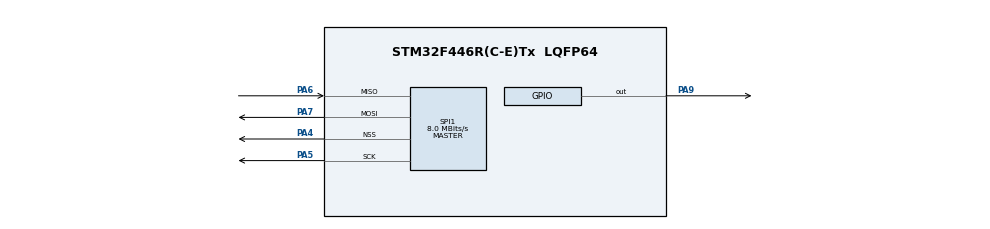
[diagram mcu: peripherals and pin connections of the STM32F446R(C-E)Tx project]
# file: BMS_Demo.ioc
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ADC1.Channel-0\#ChannelRegularConversion=ADC_CHANNEL_TEMPSENSOR
ADC1.NbrOfConversionFlag=1
ADC1.Rank-0\#ChannelRegularConversion=1
ADC1.SamplingTime-0\#ChannelRegularConversion=ADC_SAMPLETIME_3CYCLES
ADC1.master=1
Dma.ADC1.0.Direction=DMA_PERIPH_TO_MEMORY
Dma.ADC1.0.FIFOMode=DMA_FIFOMODE_DISABLE
Dma.ADC1.0.Instance=DMA2_Stream0
Dma.ADC1.0.MemDataAlignment=DMA_MDATAALIGN_HALFWORD
Dma.ADC1.0.MemInc=DMA_MINC_ENABLE
Dma.ADC1.0.Mode=DMA_NORMAL
Dma.ADC1.0.PeriphDataAlignment=DMA_PDATAALIGN_HALFWORD
Dma.ADC1.0.PeriphInc=DMA_PINC_DISABLE
Dma.ADC1.0.Priority=DMA_PRIORITY_LOW
Dma.Request0=ADC1
FREERTOS.Tasks01=defaultTask,24,128,StartDefaultTask,Default,NULL,Dynamic,NULL,NULL
Mcu.Family=STM32F4
Mcu.Name=STM32F446R(C-E)Tx
Mcu.Package=LQFP64
NVIC.DMA2_Stream0_IRQn=true\:5\:0\:false\:false\:true\:true\:false\:true\:true
NVIC.PriorityGroup=NVIC_PRIORITYGROUP_4
NVIC.SPI1_IRQn=true\:5\:0\:false\:false\:true\:true\:true\:true\:true
NVIC.TIM6_DAC_IRQn=true\:15\:0\:false\:false\:true\:false\:false\:true\:true
NVIC.TimeBase=TIM6_DAC_IRQn
NVIC.TimeBaseIP=TIM6
PA13.Mode=Serial_Wire
PA13.Signal=SYS_JTMS-SWDIO
PA14.Mode=Serial_Wire
PA14.Signal=SYS_JTCK-SWCLK
PA4.Mode=NSS_Signal_Hard_Output
PA4.Signal=SPI1_NSS
PA5.Mode=Full_Duplex_Master
PA5.Signal=SPI1_SCK
PA6.Mode=Full_Duplex_Master
PA6.Signal=SPI1_MISO
PA7.Mode=Full_Duplex_Master
PA7.Signal=SPI1_MOSI
PA9.Signal=GPIO_Output
ProjectManager.HeapSize=0x200
ProjectManager.StackSize=0x400
ProjectManager.TargetToolchain=STM32CubeIDE
RCC.CortexFreq_Value=16000000
RCC.USBFreq_Value=96000000
RCC.VCOOutputFreq_Value=192000000
SPI1.CalculateBaudRate=8.0 MBits/s
SPI1.Direction=SPI_DIRECTION_2LINES
SPI1.Mode=SPI_MODE_MASTER
SPI1.VirtualNSS=VM_NSSHARD
SPI1.VirtualType=VM_MASTER
VP_ADC1_TempSens_Input.Mode=IN-TempSens
VP_FREERTOS_VS_CMSIS_V2.Mode=CMSIS_V2
VP_SYS_VS_tim6.Mode=TIM6
board=custom

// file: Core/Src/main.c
/* USER CODE BEGIN Header */
/**
  ******************************************************************************
  * @file           : main.c
  * @brief          : Main program body
  ******************************************************************************
  * @attention
  *
  * Copyright (c) 2025 STMicroelectronics.
  * All rights reserved.
  *
  * This software is licensed under terms that can be found in the LICENSE file
  * in the root directory of this software component.
  * If no LICENSE file comes with this software, it is provided AS-IS.
  *
  ******************************************************************************
  */
/* USER CODE END Header */
#include "main.h"
#include "cmsis_os.h"

/* USER CODE BEGIN PD */
#define ADC_Buffer 8
/* USER CODE END PD */

ADC_HandleTypeDef hadc1;
DMA_HandleTypeDef hdma_adc1;

SPI_HandleTypeDef hspi1;

/* Definitions for defaultTask */
osThreadId_t defaultTaskHandle;
const osThreadAttr_t defaultTask_attributes = {
  .name = "defaultTask",
  .stack_size = 128 * 4,
  .priority = (osPriority_t) osPriorityNormal,
};
/* USER CODE BEGIN PV */
uint8_t ADCBuffer[ADC_Buffer];
/* USER CODE END PV */

void SystemClock_Config(void);
static void MX_GPIO_Init(void);
static void MX_DMA_Init(void);
static void MX_ADC1_Init(void);
static void MX_SPI1_Init(void);
void StartDefaultTask(void *argument);

/* USER CODE BEGIN 0 */
uint8_t SPI_SEND_DATA [2];
/* USER CODE END 0 */

int main(void)
{

  /* MCU Configuration--------------------------------------------------------*/

  /* Reset of all peripherals, Initializes the Flash interface and the Systick. */
  HAL_Init();

  /* Configure the system clock */
  SystemClock_Config();

  /* Initialize all configured peripherals */
  MX_GPIO_Init();
  MX_DMA_Init();
  MX_ADC1_Init();
  MX_SPI1_Init();
  /* USER CODE BEGIN 2 */
HAL_GPIO_WritePin(GPIOA,GPIO_Pin_9,GPIO_Pin_SET);
HAL_Delay(10);
HAL_GPIO_WritePin(GPIOA,GPIO_Pin_9,GPIO_Pin_RESET);
SPI_SEND_DATA[0]=0x07;
HAL_SPI_Transmit(hspi1, SPI_SEND_DATA, 1, 10);
HAL_SPI_Receive(&hspi1, &SPI_SEND_DATA[1], 1, 10);
HAL_GPIO_WritePin(GPIOA,GPIO_Pin_9,GPIO_Pin_SET);
HAL_GPIO_WritePin(GPIOA,GPIO_Pin_9,GPIO_Pin_RESET);
SPI_SEND_DATA[0]=0x05 | 0x20;
SPI_SEND_DATA[1]=0x07;
HAL_SPI_Transmit(hspi1, SPI_SEND_DATA, 1, 10);
HAL_SPI_Receive(&hspi1, &SPI_SEND_DATA[1], 1, 10);
HAL_GPIO_WritePin(GPIOA,GPIO_Pin_9,GPIO_Pin_SET);

  /* USER CODE END 2 */

  /* Init scheduler */
  osKernelInitialize();

  /* Create the thread(s) */
  /* creation of defaultTask */
  defaultTaskHandle = osThreadNew(StartDefaultTask, NULL, &defaultTask_attributes);

  /* Start scheduler */
  osKernelStart();

  /* We should never get here as control is now taken by the scheduler */

  /* Infinite loop */
  while (1)
  {

  }
}

void SystemClock_Config(void)
{
  RCC_OscInitTypeDef RCC_OscInitStruct = {0};
  RCC_ClkInitTypeDef RCC_ClkInitStruct = {0};

  /** Configure the main internal regulator output voltage
  */
  __HAL_RCC_PWR_CLK_ENABLE();
  __HAL_PWR_VOLTAGESCALING_CONFIG(PWR_REGULATOR_VOLTAGE_SCALE3);

  /** Initializes the RCC Oscillators according to the specified parameters
  * in the RCC_OscInitTypeDef structure.
  */
  RCC_OscInitStruct.OscillatorType = RCC_OSCILLATORTYPE_HSI;
  RCC_OscInitStruct.HSIState = RCC_HSI_ON;
  RCC_OscInitStruct.HSICalibrationValue = RCC_HSICALIBRATION_DEFAULT;
  RCC_OscInitStruct.PLL.PLLState = RCC_PLL_NONE;
  if (HAL_RCC_OscConfig(&RCC_OscInitStruct) != HAL_OK)
  {
    Error_Handler();
  }

  /** Initializes the CPU, AHB and APB buses clocks
  */
  RCC_ClkInitStruct.ClockType = RCC_CLOCKTYPE_HCLK|RCC_CLOCKTYPE_SYSCLK
                              |RCC_CLOCKTYPE_PCLK1|RCC_CLOCKTYPE_PCLK2;
  RCC_ClkInitStruct.SYSCLKSource = RCC_SYSCLKSOURCE_HSI;
  RCC_ClkInitStruct.AHBCLKDivider = RCC_SYSCLK_DIV1;
  RCC_ClkInitStruct.APB1CLKDivider = RCC_HCLK_DIV1;
  RCC_ClkInitStruct.APB2CLKDivider = RCC_HCLK_DIV1;

  if (HAL_RCC_ClockConfig(&RCC_ClkInitStruct, FLASH_LATENCY_0) != HAL_OK)
  {
    Error_Handler();
  }
}

static void MX_ADC1_Init(void)
{

  ADC_ChannelConfTypeDef sConfig = {0};

  /** Configure the global features of the ADC (Clock, Resolution, Data Alignment and number of conversion)
  */
  hadc1.Instance = ADC1;
  hadc1.Init.ClockPrescaler = ADC_CLOCK_SYNC_PCLK_DIV2;
  hadc1.Init.Resolution = ADC_RESOLUTION_12B;
  hadc1.Init.ScanConvMode = DISABLE;
  hadc1.Init.ContinuousConvMode = DISABLE;
  hadc1.Init.DiscontinuousConvMode = DISABLE;
  hadc1.Init.ExternalTrigConvEdge = ADC_EXTERNALTRIGCONVEDGE_NONE;
  hadc1.Init.ExternalTrigConv = ADC_SOFTWARE_START;
  hadc1.Init.DataAlign = ADC_DATAALIGN_RIGHT;
  hadc1.Init.NbrOfConversion = 1;
  hadc1.Init.DMAContinuousRequests = DISABLE;
  hadc1.Init.EOCSelection = ADC_EOC_SINGLE_CONV;
  if (HAL_ADC_Init(&hadc1) != HAL_OK)
  {
    Error_Handler();
  }

  /** Configure for the selected ADC regular channel its corresponding rank in the sequencer and its sample time.
  */
  sConfig.Channel = ADC_CHANNEL_TEMPSENSOR;
  sConfig.Rank = 1;
  sConfig.SamplingTime = ADC_SAMPLETIME_3CYCLES;
  if (HAL_ADC_ConfigChannel(&hadc1, &sConfig) != HAL_OK)
  {
    Error_Handler();
  }

}

static void MX_SPI1_Init(void)
{

  /* SPI1 parameter configuration*/
  hspi1.Instance = SPI1;
  hspi1.Init.Mode = SPI_MODE_MASTER;
  hspi1.Init.Direction = SPI_DIRECTION_2LINES;
  hspi1.Init.DataSize = SPI_DATASIZE_8BIT;
  hspi1.Init.CLKPolarity = SPI_POLARITY_LOW;
  hspi1.Init.CLKPhase = SPI_PHASE_1EDGE;
  hspi1.Init.NSS = SPI_NSS_HARD_OUTPUT;
  hspi1.Init.BaudRatePrescaler = SPI_BAUDRATEPRESCALER_2;
  hspi1.Init.FirstBit = SPI_FIRSTBIT_MSB;
  hspi1.Init.TIMode = SPI_TIMODE_DISABLE;
  hspi1.Init.CRCCalculation = SPI_CRCCALCULATION_DISABLE;
  hspi1.Init.CRCPolynomial = 10;
  if (HAL_SPI_Init(&hspi1) != HAL_OK)
  {
    Error_Handler();
  }

}

static void MX_DMA_Init(void)
{

  /* DMA controller clock enable */
  __HAL_RCC_DMA2_CLK_ENABLE();

  /* DMA interrupt init */
  /* DMA2_Stream0_IRQn interrupt configuration */
  HAL_NVIC_SetPriority(DMA2_Stream0_IRQn, 5, 0);
  HAL_NVIC_EnableIRQ(DMA2_Stream0_IRQn);

}

static void MX_GPIO_Init(void)
{
  GPIO_InitTypeDef GPIO_InitStruct = {0};

  /* GPIO Ports Clock Enable */
  __HAL_RCC_GPIOA_CLK_ENABLE();

  /*Configure GPIO pin Output Level */
  HAL_GPIO_WritePin(GPIOA, GPIO_PIN_9, GPIO_PIN_RESET);

  /*Configure GPIO pin : PA9 */
  GPIO_InitStruct.Pin = GPIO_PIN_9;
  GPIO_InitStruct.Mode = GPIO_MODE_OUTPUT_PP;
  GPIO_InitStruct.Pull = GPIO_NOPULL;
  GPIO_InitStruct.Speed = GPIO_SPEED_FREQ_LOW;
  HAL_GPIO_Init(GPIOA, &GPIO_InitStruct);

}

void StartDefaultTask(void *argument)
{
  for(;;)
  {
    osDelay(1);
  }
}

void HAL_TIM_PeriodElapsedCallback(TIM_HandleTypeDef *htim)
{
  if (htim->Instance == TIM6) {
    HAL_IncTick();
  }
}

void Error_Handler(void)
{
  __disable_irq();
  while (1)
  {
  }
}
